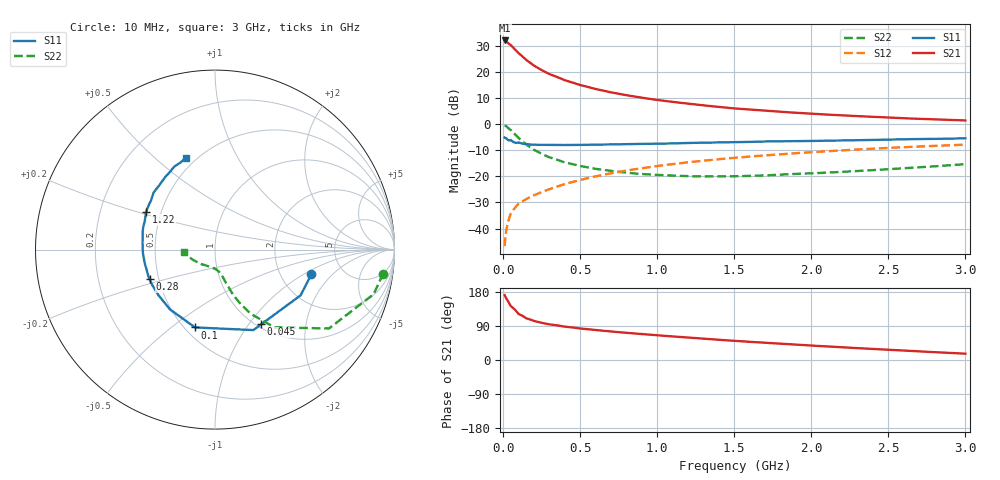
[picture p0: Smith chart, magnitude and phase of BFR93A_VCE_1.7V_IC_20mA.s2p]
! Infineon Technologies  Discrete & RF Semiconductors
! BFR93A
! VCE =  1.7 V,  IC =  20 mA
! Common Emitter S-Parameters:  Nov 2015
# GHz  S  MA  R  50
!  f  S11  S21  S12  S22
! GHz  MAG  ANG  MAG  ANG  MAG  ANG  MAG  ANG
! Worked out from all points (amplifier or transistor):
!   180 points, 10 MHz to 3 GHz, reference 50 ohm
!   highest |S21| = 32.1 dB at 10 MHz (marker M1)
!   |S21| within 3 dB of that: start of sweep to 70.36 MHz
!   unconditionally stable (mu >= 1): 387.9 MHz to end of sweep
!   at 160 MHz: K = 0.72, MSG = 26.3 dB, |S12| = -28.4 dB
!   at 1.22 GHz: K = 1.08, MAG = 9.3 dB, |S12| = -14.5 dB
!   at 3 GHz: K = 1.01, MAG = 4.0 dB, |S12| = -7.8 dB
!   S11 on the Smith chart (normalised r, x): 10 MHz: 2.97, -1.18; 45 MHz: 1.05, -1.15; 100 MHz: 0.56, -0.61; 280 MHz: 0.44, -0.18; 1.22 GHz: 0.41, +0.22; 3 GHz: 0.44, +0.63
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0.01  0.554 -14.4  40.13 171.1  0.0046 83.1  0.9465 -8.1
0.02  0.5409 -28.1  38.88 162.9  0.0091 78.0  0.9181 -15.7
0.045  0.4895 -58.2  33.46 146.1  0.0177 67.8  0.7897 -31.1
0.05  0.4968 -64.5  32.79 142.2  0.0195 66.9  0.7721 -34.7
0.1  0.4476 -104.4  23.04 121.5  0.0297 59.4  0.5455 -52.6
0.15  0.4171 -126.9  16.95 110.1  0.0366 58.8  0.4065 -61.1
0.2  0.4046 -141.2  13.26 103.1  0.0434 60.4  0.3232 -65.4
0.24  0.4014 -149.6  11.3 99.2  0.0485 61.5  0.2799 -67.6
0.28  0.4 -155.5  9.804 95.8  0.0539 62.6  0.247 -69.1
0.3  0.3997 -158.1  9.134 94.1  0.0567 63.2  0.2323 -69.8
0.4  0.3989 -169.3  6.944 88.0  0.0709 65.3  0.1849 -72.4
0.5  0.4022 -177.4  5.623 83.2  0.0852 66.1  0.1583 -74.1
0.52  0.4023 -178.6  5.441 82.5  0.0881 66.1  0.1545 -74.6
0.6  0.4045 176.4  4.721 79.1  0.0998 66.3  0.1393 -76.6
0.7  0.4087 171.3  4.069 75.1  0.1145 66.0  0.127 -79.3
0.86  0.4171 164.2  3.357 69.8  0.1376 65.0  0.1134 -85.0
1.02  0.4226 157.8  2.858 64.6  0.1606 63.6  0.1059 -91.1
1.22  0.4378 151.2  2.435 58.6  0.1888 61.2  0.1006 -101.0
1.52  0.4504 142.2  1.984 50.1  0.2289 57.6  0.1006 -116.4
2.02  0.4777 129.1  1.574 37.7  0.2928 51.1  0.1149 -138.3
2.52  0.5081 118.0  1.33 26.6  0.3532 44.0  0.1382 -157.1
3  0.5356 107.6  1.178 16.7  0.4053 37.2  0.1714 -174.7
